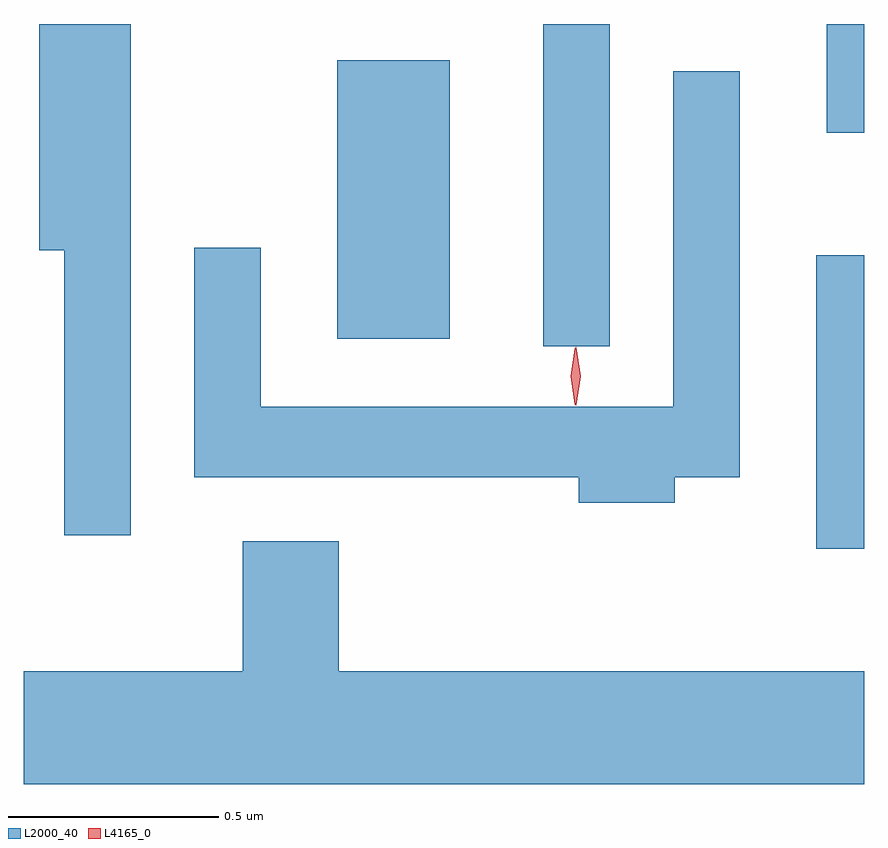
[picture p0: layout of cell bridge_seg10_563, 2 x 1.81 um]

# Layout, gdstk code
import gdstk
lib = gdstk.Library(unit=1e-6, precision=1e-09)
def R(c, l, rs):  # rectangles x0, y0, x1, y1
    for r in rs: c.add(gdstk.rectangle(r[:2], r[2:], *l))
def P(c, l, *ps):  # polygons
    for p in ps: c.add(gdstk.Polygon(p, *l))
L2000_40 = (2000, 40)
L4165_0 = (4165, 0)

bridge_seg10_563 = lib.new_cell('bridge_seg10_563')
R(bridge_seg10_563, L2000_40, [(771.036,2174.416,771.15,2175.114), (770.386,2174.898,770.544,2175.665), (769.896,2174.916,770.164,2175.579), (771.061,2175.406,771.15,2175.665)])
P(bridge_seg10_563, L2000_40, [(769.404,2175.665),(769.186,2175.665),(769.186,2175.126),(769.246,2175.126),(769.246,2174.448),(769.404,2174.448)],
  [(770.699,2174.586),(770.854,2174.586),(770.854,2175.553),(770.696,2175.553),(770.696,2174.754),(769.714,2174.754),(769.714,2175.133),(769.556,2175.133),(769.556,2174.586),(770.471,2174.586),(770.471,2174.526),(770.699,2174.526)],
  [(771.15,2174.124),(769.899,2174.124),(769.899,2174.434),(769.671,2174.434),(769.671,2174.124),(769.15,2174.124),(769.15,2173.856),(771.15,2173.856)])
P(bridge_seg10_563, L4165_0, [(770.464,2174.757),(770.455,2174.826),(770.464,2174.896),(770.465,2174.896),(770.465,2174.896),(770.475,2174.826),(770.465,2174.757),(770.465,2174.757)],
  [(770.462,2174.759),(770.461,2174.76),(770.452,2174.826),(770.461,2174.892),(770.462,2174.893),(770.462,2174.892),(770.472,2174.826),(770.462,2174.76)])

lib.write_gds('bridge_seg10_563.gds')
